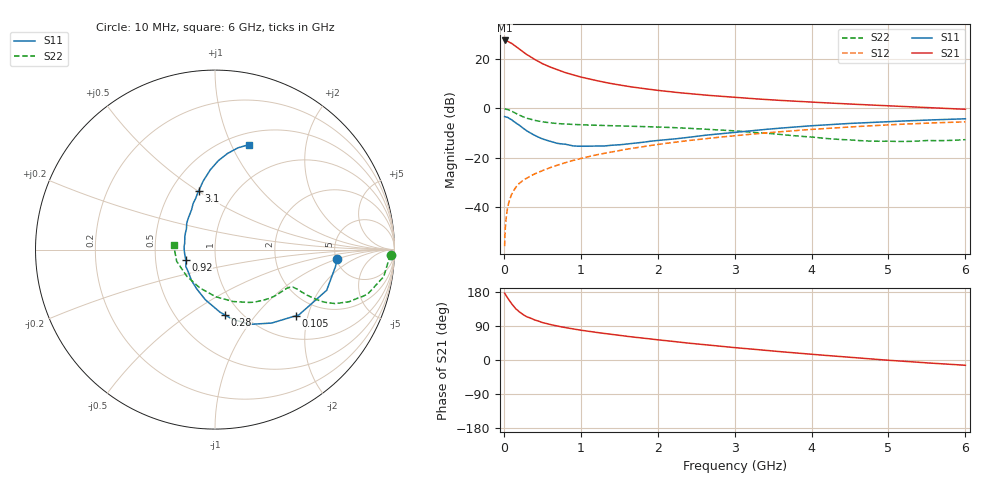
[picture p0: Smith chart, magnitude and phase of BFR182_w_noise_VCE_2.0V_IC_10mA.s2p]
! Infineon Technologies  Discrete & RF Semiconductors
! BFR182
! VCE =  2.0 V,  IC =  10 mA
! Common Emitter S-Parameters:  Nov 2015
# GHz  S  MA  R  50
!  f  S11  S21  S12  S22
! GHz  MAG  ANG  MAG  ANG  MAG  ANG  MAG  ANG
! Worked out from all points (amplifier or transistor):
!   210 points, 10 MHz to 6 GHz, reference 50 ohm
!   highest |S21| = 27.6 dB at 10 MHz (marker M1)
!   |S21| within 3 dB of that: start of sweep to 180.4 MHz
!   unconditionally stable (mu >= 1): 754.4 MHz to 2.651 GHz
!   at 185 MHz: K = 0.52, MSG = 27.7 dB, |S12| = -30.9 dB
!   at 1.52 GHz: K = 1.05, MAG = 11.8 dB, |S12| = -17.0 dB
!   at 6 GHz: K = 0.90, MSG = 2.6 dB, |S12| = -5.5 dB
!   lowest NFmin = 1.50 dB at 450 MHz
!   S11 on the Smith chart (normalised r, x): 10 MHz: 5.12, -0.98; 105 MHz: 1.51, -1.69; 280 MHz: 0.84, -0.71; 920 MHz: 0.72, -0.09; 3.1 GHz: 0.68, +0.50; 6 GHz: 0.62, +1.17
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0.01  0.6832 -4.3  23.97 176.5  0.0016 99.4  0.9807 -1.7
0.025  0.6732 -10.0  23.66 171.3  0.0049 85.0  0.9648 -4.7
0.05  0.6623 -20.0  23.11 163.3  0.0099 80.2  0.952 -9.1
0.1  0.5923 -37.9  21.05 148.7  0.0179 74.7  0.8849 -16.4
0.105  0.5832 -39.2  20.75 147.6  0.0185 73.9  0.8762 -16.8
0.15  0.5167 -52.4  18.44 136.1  0.0243 68.5  0.8002 -21.3
0.2  0.4591 -65.2  16.1 127.2  0.0301 67.2  0.7335 -24.2
0.24  0.4083 -73.9  14.45 121.3  0.0336 65.8  0.6871 -25.4
0.28  0.3674 -81.6  13.03 116.4  0.037 65.4  0.649 -26.0
0.3  0.3494 -85.5  12.36 113.9  0.0386 65.4  0.6313 -26.2
0.4  0.2849 -100.8  9.894 105.8  0.0468 66.0  0.5721 -26.3
0.5  0.2414 -115.0  8.126 98.9  0.0545 66.5  0.5342 -26.0
0.6  0.2161 -127.3  6.942 93.7  0.0627 67.2  0.5099 -25.7
0.7  0.1951 -138.7  6.048 89.2  0.0708 68.0  0.4928 -25.7
0.92  0.1727 -160.0  4.691 81.3  0.0896 68.1  0.4722 -26.3
1.02  0.1707 -170.8  4.272 78.2  0.098 68.3  0.4648 -26.9
1.4  0.179 160.4  3.184 67.7  0.1306 67.3  0.446 -30.4
2.02  0.2254 132.3  2.309 52.9  0.1873 63.0  0.4185 -38.7
3.1  0.338 105.7  1.634 31.0  0.2888 53.2  0.3404 -59.5
4.1  0.4549 92.2  1.32 13.4  0.384 42.1  0.2532 -93.0
5.1  0.5478 81.5  1.113 -2.0  0.4722 29.7  0.2139 -142.0
6  0.616 71.9  0.961 -14.0  0.5338 17.1  0.2325 173.4
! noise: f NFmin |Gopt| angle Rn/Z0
0.45  1.5  0.26  43  0.28
0.9  1.6  0.24  87  0.22
1.8  2.1  0.2  170  0.2
